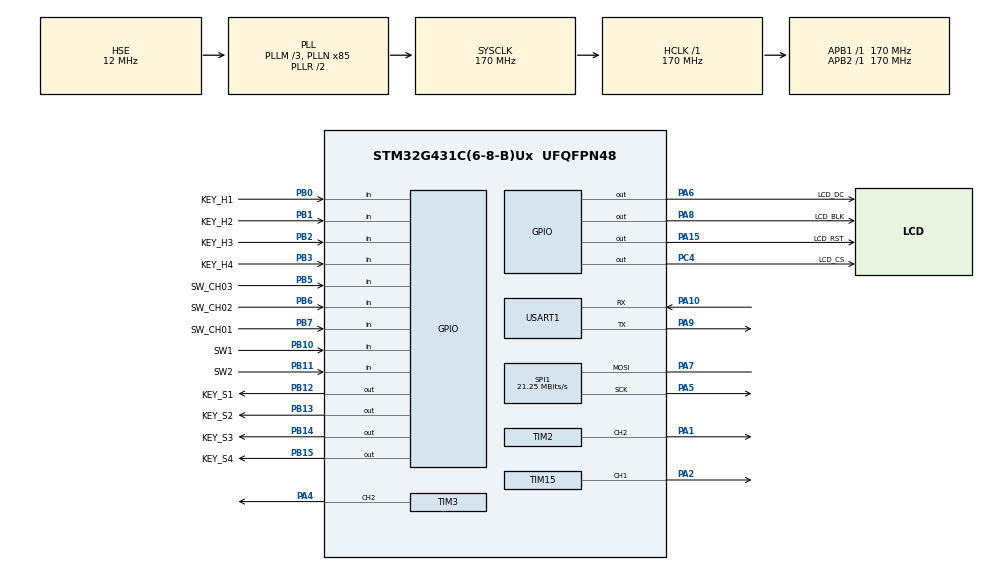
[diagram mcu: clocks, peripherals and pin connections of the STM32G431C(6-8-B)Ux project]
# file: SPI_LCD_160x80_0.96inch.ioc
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Mcu.Family=STM32G4
Mcu.Name=STM32G431C(6-8-B)Ux
Mcu.Package=UFQFPN48
NVIC.PriorityGroup=NVIC_PRIORITYGROUP_4
PA1.GPIO_Speed=GPIO_SPEED_FREQ_LOW
PA1.Signal=S_TIM2_CH2
PA10.Mode=Asynchronous
PA10.Signal=USART1_RX
PA15.GPIO_Label=LCD_RST
PA15.Signal=GPIO_Output
PA2.GPIO_Speed=GPIO_SPEED_FREQ_LOW
PA2.Signal=S_TIM15_CH1
PA4.GPIO_Speed=GPIO_SPEED_FREQ_LOW
PA4.Signal=S_TIM3_CH2
PA5.Mode=Simplex_Bidirectional_Master
PA5.Signal=SPI1_SCK
PA6.GPIO_Label=LCD_DC
PA6.Signal=GPIO_Output
PA7.Mode=Simplex_Bidirectional_Master
PA7.Signal=SPI1_MOSI
PA8.GPIO_Label=LCD_BLK
PA8.Signal=GPIO_Output
PA9.Mode=Asynchronous
PA9.Signal=USART1_TX
PB0.GPIO_Label=KEY_H1
PB0.GPIO_Mode=GPIO_MODE_INPUT
PB0.GPIO_PuPd=GPIO_PULLDOWN
PB0.Signal=GPIO_Input
PB1.GPIO_Label=KEY_H2
PB1.GPIO_Mode=GPIO_MODE_INPUT
PB1.GPIO_PuPd=GPIO_PULLDOWN
PB1.Signal=GPIO_Input
PB10.GPIO_Label=SW1
PB10.GPIO_Mode=GPIO_MODE_INPUT
PB10.GPIO_PuPd=GPIO_PULLUP
PB10.Signal=GPIO_Input
PB11.GPIO_Label=SW2
PB11.GPIO_Mode=GPIO_MODE_INPUT
PB11.GPIO_PuPd=GPIO_PULLUP
PB11.Signal=GPIO_Input
PB12.GPIO_Label=KEY_S1
PB12.GPIO_ModeDefaultOutputPP=GPIO_MODE_OUTPUT_PP
PB12.GPIO_PuPd=GPIO_PULLUP
PB12.PinState=GPIO_PIN_RESET
PB12.Signal=GPIO_Output
PB13.GPIO_Label=KEY_S2
PB13.GPIO_ModeDefaultOutputPP=GPIO_MODE_OUTPUT_PP
PB13.GPIO_PuPd=GPIO_PULLUP
PB13.PinState=GPIO_PIN_RESET
PB13.Signal=GPIO_Output
PB14.GPIO_Label=KEY_S3
PB14.GPIO_ModeDefaultOutputPP=GPIO_MODE_OUTPUT_PP
PB14.GPIO_PuPd=GPIO_PULLUP
PB14.PinState=GPIO_PIN_RESET
PB14.Signal=GPIO_Output
PB15.GPIO_Label=KEY_S4
PB15.GPIO_ModeDefaultOutputPP=GPIO_MODE_OUTPUT_PP
PB15.GPIO_PuPd=GPIO_PULLUP
PB15.PinState=GPIO_PIN_RESET
PB15.Signal=GPIO_Output
PB2.GPIO_Label=KEY_H3
PB2.GPIO_Mode=GPIO_MODE_INPUT
PB2.GPIO_PuPd=GPIO_PULLDOWN
PB2.Signal=GPIO_Input
PB3.GPIO_Label=KEY_H4
PB3.GPIO_Mode=GPIO_MODE_INPUT
PB3.GPIO_PuPd=GPIO_PULLDOWN
PB3.Signal=GPIO_Input
PB5.GPIO_Label=SW_CH03
PB5.GPIO_Mode=GPIO_MODE_INPUT
PB5.GPIO_PuPd=GPIO_PULLUP
PB5.Signal=GPIO_Input
PB6.GPIO_Label=SW_CH02
PB6.GPIO_Mode=GPIO_MODE_INPUT
PB6.GPIO_PuPd=GPIO_PULLUP
PB6.Signal=GPIO_Input
PB7.GPIO_Label=SW_CH01
PB7.GPIO_Mode=GPIO_MODE_INPUT
PB7.GPIO_PuPd=GPIO_PULLUP
PB7.Signal=GPIO_Input
PC4.GPIO_Label=LCD_CS
PC4.Signal=GPIO_Output
PF0-OSC_IN.Mode=HSE-External-Oscillator
PF0-OSC_IN.Signal=RCC_OSC_IN
PF1-OSC_OUT.Mode=HSE-External-Oscillator
PF1-OSC_OUT.Signal=RCC_OSC_OUT
ProjectManager.HeapSize=0x200
ProjectManager.StackSize=0x400
ProjectManager.TargetToolchain=MDK-ARM V5.32
RCC.ADC12Freq_Value=170000000
RCC.AHBFreq_Value=170000000
RCC.APB1Freq_Value=170000000
RCC.APB1TimFreq_Value=170000000
RCC.APB2Freq_Value=170000000
RCC.APB2TimFreq_Value=170000000
RCC.CortexFreq_Value=170000000
RCC.EXTERNAL_CLOCK_VALUE=12288000
RCC.HCLKFreq_Value=170000000
RCC.HSE_VALUE=12000000
RCC.HSI48_VALUE=48000000
RCC.HSI_VALUE=16000000
RCC.LSE_VALUE=32768
RCC.PLLM=RCC_PLLM_DIV3
RCC.PLLN=85
RCC.PLLSourceVirtual=RCC_PLLSOURCE_HSE
RCC.SYSCLKFreq_VALUE=170000000
RCC.SYSCLKSource=RCC_SYSCLKSOURCE_PLLCLK
RCC.USBFreq_Value=170000000
RCC.VCOOutputFreq_Value=340000000
SH.S_TIM15_CH1.0=TIM15_CH1,PWM Generation1 CH1
SH.S_TIM2_CH2.0=TIM2_CH2,PWM Generation2 CH2
SH.S_TIM3_CH2.0=TIM3_CH2,PWM Generation2 CH2
SPI1.BaudRatePrescaler=SPI_BAUDRATEPRESCALER_8
SPI1.CLKPhase=SPI_PHASE_2EDGE
SPI1.CLKPolarity=SPI_POLARITY_HIGH
SPI1.CalculateBaudRate=21.25 MBits/s
SPI1.DataSize=SPI_DATASIZE_8BIT
SPI1.Direction=SPI_DIRECTION_1LINE
SPI1.Mode=SPI_MODE_MASTER
SPI1.VirtualType=VM_MASTER
TIM15.Channel-PWM\ Generation1\ CH1=TIM_CHANNEL_1
TIM15.PeriodNoDither=17000
TIM15.PulseNoDither_1=8500
TIM2.Channel-PWM\ Generation2\ CH2=TIM_CHANNEL_2
TIM2.PeriodNoDither=170
TIM2.PulseNoDither_2=85
TIM3.Channel-PWM\ Generation2\ CH2=TIM_CHANNEL_2
TIM3.PeriodNoDither=1700
TIM3.PulseNoDither_2=850
USART1.VirtualMode-Asynchronous=VM_ASYNC
VP_SYS_VS_DBSignals.Mode=DisableDeadBatterySignals
VP_TIM15_VS_ClockSourceINT.Mode=Internal
VP_TIM2_VS_ClockSourceINT.Mode=Internal
VP_TIM3_VS_ClockSourceINT.Mode=Internal
board=custom

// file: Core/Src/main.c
/* USER CODE BEGIN Header */
/**
  ******************************************************************************
  * @file           : main.c
  * @brief          : Main program body
  ******************************************************************************
  * @attention
  *
  * Copyright (c) 2023 STMicroelectronics.
  * All rights reserved.
  *
  * This software is licensed under terms that can be found in the LICENSE file
  * in the root directory of this software component.
  * If no LICENSE file comes with this software, it is provided AS-IS.
  *
  ******************************************************************************
  */
/* USER CODE END Header */
#include "main.h"
#include "spi.h"
#include "tim.h"
#include "usart.h"
#include "gpio.h"

/* USER CODE BEGIN Includes */
#include "lcd.h"

#include "KEY.h"
#include "stdio.h"
#include "GUI.h"
/* USER CODE END Includes */

/* USER CODE BEGIN PTD */

extern uint8_t sw_status[3];
extern int keytime;
extern uint32_t freqshownext[3];
extern uint8_t unit_choose;
extern uint8_t channal_choose;
extern uint32_t freqshownow[3];
extern uint8_t zkb[3];
/* USER CODE END PTD */

void SystemClock_Config(void);

int main(void)
{

  /* MCU Configuration--------------------------------------------------------*/

  /* Reset of all peripherals, Initializes the Flash interface and the Systick. */
  HAL_Init();

  /* Configure the system clock */
  SystemClock_Config();

  /* Initialize all configured peripherals */
  MX_GPIO_Init();
  MX_SPI1_Init();
  MX_TIM2_Init();
  MX_TIM3_Init();
  MX_TIM15_Init();
  MX_USART1_UART_Init();
  /* USER CODE BEGIN 2 */
	Lcd_Init();

	HAL_TIM_PWM_Start(&htim2,TIM_CHANNEL_2);
	HAL_TIM_PWM_Start(&htim3,TIM_CHANNEL_2);
	HAL_TIM_PWM_Start(&htim15,TIM_CHANNEL_1);

	HAL_GPIO_WritePin(GPIOB,GPIO_PIN_12,0);
	HAL_GPIO_WritePin(GPIOB,GPIO_PIN_13,0);
	HAL_GPIO_WritePin(GPIOB,GPIO_PIN_14,0);
	HAL_GPIO_WritePin(GPIOB,GPIO_PIN_15,0);

	freqshownext[0] = 1000;
	freqshownext[1] = 100000;
	freqshownext[2] = 8000000;

  /* USER CODE END 2 */

  /* Infinite loop */
  while (1)
  {

    /* USER CODE BEGIN 3 */
		keyscan();
		sw_handle();
		sys_refresh();

		key_handle();

//		sprintf(lcdprinter, "%d %d %d %d",keytime ,sw_status[0] , sw_status[1] ,sw_status[2]);
//		Lcd_print(0,  0, GRAYBLUE, lcdprinter);
  }
  /* USER CODE END 3 */
}

void SystemClock_Config(void)
{
  RCC_OscInitTypeDef RCC_OscInitStruct = {0};
  RCC_ClkInitTypeDef RCC_ClkInitStruct = {0};

  /** Configure the main internal regulator output voltage
  */
  HAL_PWREx_ControlVoltageScaling(PWR_REGULATOR_VOLTAGE_SCALE1_BOOST);

  /** Initializes the RCC Oscillators according to the specified parameters
  * in the RCC_OscInitTypeDef structure.
  */
  RCC_OscInitStruct.OscillatorType = RCC_OSCILLATORTYPE_HSE;
  RCC_OscInitStruct.HSEState = RCC_HSE_ON;
  RCC_OscInitStruct.PLL.PLLState = RCC_PLL_ON;
  RCC_OscInitStruct.PLL.PLLSource = RCC_PLLSOURCE_HSE;
  RCC_OscInitStruct.PLL.PLLM = RCC_PLLM_DIV3;
  RCC_OscInitStruct.PLL.PLLN = 85;
  RCC_OscInitStruct.PLL.PLLP = RCC_PLLP_DIV2;
  RCC_OscInitStruct.PLL.PLLQ = RCC_PLLQ_DIV2;
  RCC_OscInitStruct.PLL.PLLR = RCC_PLLR_DIV2;
  if (HAL_RCC_OscConfig(&RCC_OscInitStruct) != HAL_OK)
  {
    Error_Handler();
  }

  /** Initializes the CPU, AHB and APB buses clocks
  */
  RCC_ClkInitStruct.ClockType = RCC_CLOCKTYPE_HCLK|RCC_CLOCKTYPE_SYSCLK
                              |RCC_CLOCKTYPE_PCLK1|RCC_CLOCKTYPE_PCLK2;
  RCC_ClkInitStruct.SYSCLKSource = RCC_SYSCLKSOURCE_PLLCLK;
  RCC_ClkInitStruct.AHBCLKDivider = RCC_SYSCLK_DIV1;
  RCC_ClkInitStruct.APB1CLKDivider = RCC_HCLK_DIV1;
  RCC_ClkInitStruct.APB2CLKDivider = RCC_HCLK_DIV1;

  if (HAL_RCC_ClockConfig(&RCC_ClkInitStruct, FLASH_LATENCY_4) != HAL_OK)
  {
    Error_Handler();
  }
}

void Error_Handler(void)
{
  __disable_irq();
  while (1)
  {
  }
}
